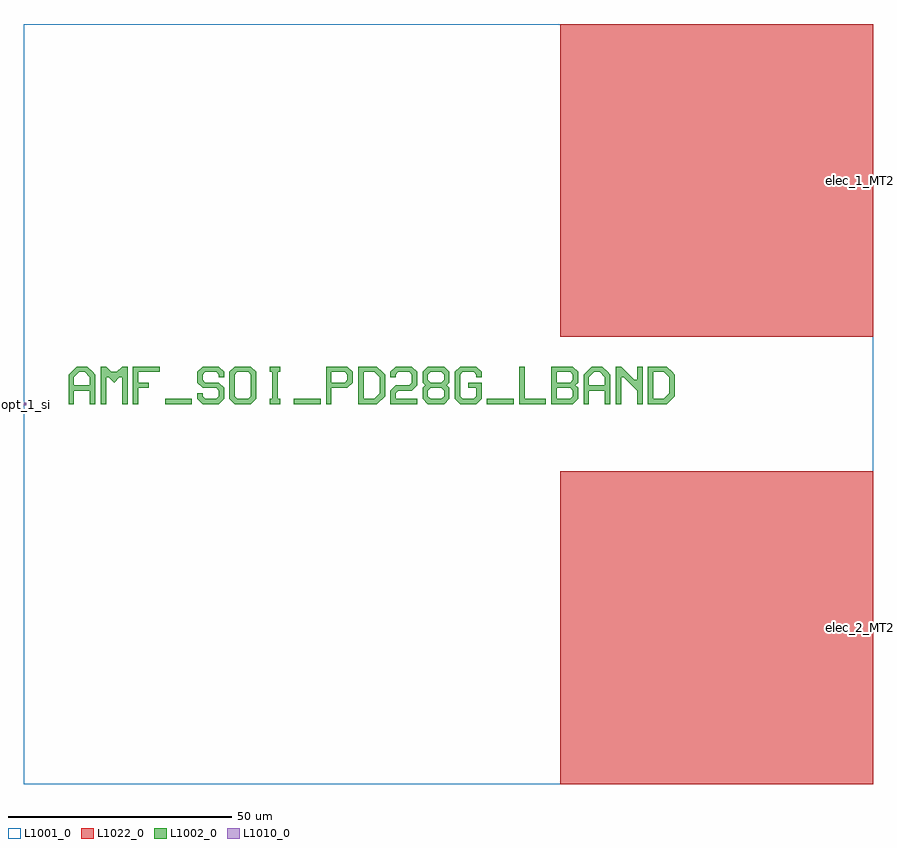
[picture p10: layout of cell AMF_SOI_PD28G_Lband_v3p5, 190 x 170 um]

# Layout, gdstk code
import gdstk
lib = gdstk.Library(unit=1e-6, precision=1e-09)
def R(c, l, rs):  # rectangles x0, y0, x1, y1
    for r in rs: c.add(gdstk.rectangle(r[:2], r[2:], *l))
def P(c, l, *ps):  # polygons
    for p in ps: c.add(gdstk.Polygon(p, *l))
L1001_0 = (1001, 0)
L1002_0 = (1002, 0)
L1010_0 = (1010, 0)
L1022_0 = (1022, 0)

amf_soi_pd28g_lband_v3p5 = lib.new_cell('AMF_SOI_PD28G_Lband_v3p5')
R(amf_soi_pd28g_lband_v3p5, L1001_0, [(0,-85,190,85)])
R(amf_soi_pd28g_lband_v3p5, L1002_0, [(31.602,-0.021,37.602,1.179), (60.402,-0.021,66.402,1.179), (103.602,-0.021,109.602,1.179)])
P(amf_soi_pd28g_lband_v3p5, L1002_0, [(10.002,-0.021),(10.002,6.579),(11.802,8.379),(14.202,8.379),(15.402,7.179),(12.402,7.179),(11.202,5.979),(11.202,4.179),(14.802,4.179),(14.802,5.979),(13.602,7.179),(15.402,7.179),(16.002,6.579),(16.002,-0.021),(14.802,-0.021),(14.802,2.979),(11.202,2.979),(11.202,-0.021)],
  [(17.202,-0.021),(17.202,8.379),(18.402,8.379),(19.602,7.179),(20.802,7.179),(22.002,8.379),(23.202,8.379),(23.202,-0.021),(22.002,-0.021),(22.002,5.979),(21.402,5.979),(20.202,4.779),(19.002,5.979),(18.402,5.979),(18.402,-0.021)],
  [(24.402,-0.021),(24.402,8.379),(30.402,8.379),(30.402,7.179),(25.602,7.179),(25.602,4.779),(28.002,4.779),(28.002,3.579),(25.602,3.579),(25.602,-0.021)],
  [(40.002,-0.021),(38.802,1.179),(38.802,2.379),(40.002,2.379),(40.002,1.779),(40.602,1.179),(43.002,1.179),(43.602,1.779),(43.602,2.979),(43.002,3.579),(40.002,3.579),(38.802,4.779),(38.802,7.179),(40.002,8.379),(43.602,8.379),(44.802,7.179),(44.802,5.979),(43.602,5.979),(43.602,6.579),(43.002,7.179),(40.602,7.179),(40.002,6.579),(40.002,5.379),(40.602,4.779),(43.602,4.779),(44.802,3.579),(44.802,1.179),(43.602,-0.021)],
  [(47.202,-0.021),(46.002,1.179),(46.002,7.179),(47.202,8.379),(50.802,8.379),(52.002,7.179),(52.002,4.179),(50.802,4.179),(50.802,6.579),(50.202,7.179),(47.802,7.179),(47.202,6.579),(47.202,1.779),(47.802,1.179),(50.202,1.179),(50.802,1.779),(50.802,4.179),(52.002,4.179),(52.002,1.179),(50.802,-0.021)],
  [(55.002,-0.021),(55.002,1.179),(55.602,1.179),(55.602,7.179),(55.002,7.179),(55.002,8.379),(57.402,8.379),(57.402,7.179),(56.802,7.179),(56.802,1.179),(57.402,1.179),(57.402,-0.021)],
  [(67.602,-0.021),(67.602,8.379),(72.402,8.379),(73.602,7.179),(73.602,4.779),(72.402,3.579),(68.802,3.579),(68.802,4.779),(71.802,4.779),(72.402,5.379),(72.402,6.579),(71.802,7.179),(68.802,7.179),(68.802,-0.021)],
  [(74.802,-0.021),(74.802,8.379),(79.002,8.379),(80.202,7.179),(76.002,7.179),(76.002,1.179),(78.402,1.179),(79.602,2.379),(79.602,5.979),(78.402,7.179),(80.202,7.179),(80.802,6.579),(80.802,1.779),(79.002,-0.021)],
  [(82.002,-0.021),(82.002,2.979),(83.202,4.179),(86.202,4.179),(86.802,4.779),(86.802,6.579),(86.202,7.179),(83.802,7.179),(83.202,6.579),(83.202,5.979),(82.002,5.979),(82.002,7.179),(83.202,8.379),(86.802,8.379),(88.002,7.179),(88.002,4.179),(86.802,2.979),(83.802,2.979),(83.202,2.379),(83.202,1.179),(88.002,1.179),(88.002,-0.021)],
  [(90.402,-0.021),(89.202,1.179),(89.202,3.579),(89.802,4.179),(89.202,4.779),(89.202,7.179),(90.402,8.379),(94.002,8.379),(95.202,7.179),(91.002,7.179),(90.402,6.579),(90.402,5.379),(91.002,4.779),(93.402,4.779),(94.002,5.379),(94.002,6.579),(93.402,7.179),(95.202,7.179),(95.202,4.779),(94.602,4.179),(95.202,3.579),(91.002,3.579),(90.402,2.979),(90.402,1.779),(91.002,1.179),(93.402,1.179),(94.002,1.779),(94.002,2.979),(93.402,3.579),(95.202,3.579),(95.202,1.179),(94.002,-0.021)],
  [(97.602,-0.021),(96.402,1.179),(96.402,7.179),(97.602,8.379),(101.202,8.379),(102.402,7.179),(102.402,5.979),(101.202,5.979),(101.202,6.579),(100.602,7.179),(98.202,7.179),(97.602,6.579),(97.602,1.779),(98.202,1.179),(100.602,1.179),(101.202,1.779),(101.202,3.579),(99.402,3.579),(99.402,4.779),(102.402,4.779),(102.402,1.179),(101.202,-0.021)],
  [(110.802,-0.021),(110.802,8.379),(112.002,8.379),(112.002,1.179),(116.802,1.179),(116.802,-0.021)],
  [(118.002,-0.021),(118.002,8.379),(122.802,8.379),(124.002,7.179),(119.202,7.179),(119.202,4.779),(122.202,4.779),(122.802,5.379),(122.802,6.579),(122.202,7.179),(124.002,7.179),(124.002,4.779),(123.402,4.179),(124.002,3.579),(119.202,3.579),(119.202,1.179),(122.202,1.179),(122.802,1.779),(122.802,2.979),(122.202,3.579),(124.002,3.579),(124.002,1.179),(122.802,-0.021)],
  [(125.202,-0.021),(125.202,6.579),(127.002,8.379),(129.402,8.379),(130.602,7.179),(127.602,7.179),(126.402,5.979),(126.402,4.179),(130.002,4.179),(130.002,5.979),(128.802,7.179),(130.602,7.179),(131.202,6.579),(131.202,-0.021),(130.002,-0.021),(130.002,2.979),(126.402,2.979),(126.402,-0.021)],
  [(132.402,-0.021),(132.402,8.379),(133.602,8.379),(136.602,5.379),(137.202,5.379),(137.202,8.379),(138.402,8.379),(138.402,-0.021),(137.202,-0.021),(137.202,2.979),(134.202,5.979),(133.602,5.979),(133.602,-0.021)],
  [(139.602,-0.021),(139.602,8.379),(143.802,8.379),(145.002,7.179),(140.802,7.179),(140.802,1.179),(143.202,1.179),(144.402,2.379),(144.402,5.979),(143.202,7.179),(145.002,7.179),(145.602,6.579),(145.602,1.779),(143.802,-0.021)])
R(amf_soi_pd28g_lband_v3p5, L1010_0, [(0,-0.25,0.5,0.25)])
R(amf_soi_pd28g_lband_v3p5, L1022_0, [(120,-85,190,-15), (120,15,190,85)])
amf_soi_pd28g_lband_v3p5.add(gdstk.Label('opt_1_si', (0,0), layer=1010, texttype=0))
amf_soi_pd28g_lband_v3p5.add(gdstk.Label('elec_1_MT2', (190,50), layer=1022, texttype=0))
amf_soi_pd28g_lband_v3p5.add(gdstk.Label('elec_2_MT2', (190,-50), layer=1022, texttype=0))

lib.write_gds('AMF_SOI_PD28G_Lband_v3p5.gds')
